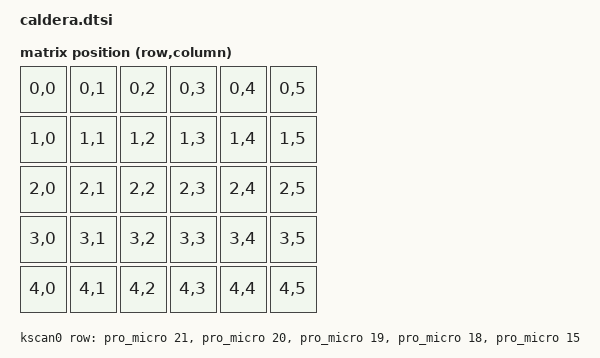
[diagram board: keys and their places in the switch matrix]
/*
 * ForMatrix (Caldera) Keyboard - Shield Definition
 * For: nice!nano v2 / Pro Micro nRF52840 / Supermini nRF52840
 * 
 * Matrix: 5 rows × 6 columns per side (split keyboard)
 * Official Caldera PCB pinout
 */

#include <dt-bindings/zmk/matrix_transform.h>

/ {
    chosen {
        zmk,kscan = &kscan0;
        zmk,matrix_transform = &default_transform;
    }

    default_transform: keymap_transform_0 {
        compatible = "zmk,matrix-transform";
        columns = <6>;
        rows = <5>;
        
        // Matrix Layout (per side):
        // | SW1  | SW2  | SW3  | SW4  | SW5  | SW6  |
        // | SW7  | SW8  | SW9  | SW10 | SW11 | SW12 |
        // | SW13 | SW14 | SW15 | SW16 | SW17 | SW18 |
        // | SW19 | SW20 | SW21 | SW22 | SW23 | SW24 |
        // | SW25 | SW26 | SW27 | SW28 | SW29 | SW30 |
        
        map = <
RC(0,0) RC(0,1) RC(0,2) RC(0,3) RC(0,4) RC(0,5)
RC(1,0) RC(1,1) RC(1,2) RC(1,3) RC(1,4) RC(1,5)
RC(2,0) RC(2,1) RC(2,2) RC(2,3) RC(2,4) RC(2,5)
RC(3,0) RC(3,1) RC(3,2) RC(3,3) RC(3,4) RC(3,5)
RC(4,0) RC(4,1) RC(4,2) RC(4,3) RC(4,4) RC(4,5)
        >;
    };

    kscan0: kscan {
        compatible = "zmk,kscan-gpio-matrix";
        wakeup-source;
        diode-direction = "col2row";
        
        // Row GPIOs (from Caldera schematic)
        row-gpios
            = <&pro_micro 21 GPIO_ACTIVE_HIGH>  // Row A
            , <&pro_micro 20 GPIO_ACTIVE_HIGH>  // Row B
            , <&pro_micro 19 GPIO_ACTIVE_HIGH>  // Row C
            , <&pro_micro 18 GPIO_ACTIVE_HIGH>  // Row D
            , <&pro_micro 15 GPIO_ACTIVE_HIGH>  // Row E
            ;
        
        // Column GPIOs defined in left/right overlay files
    };
};
